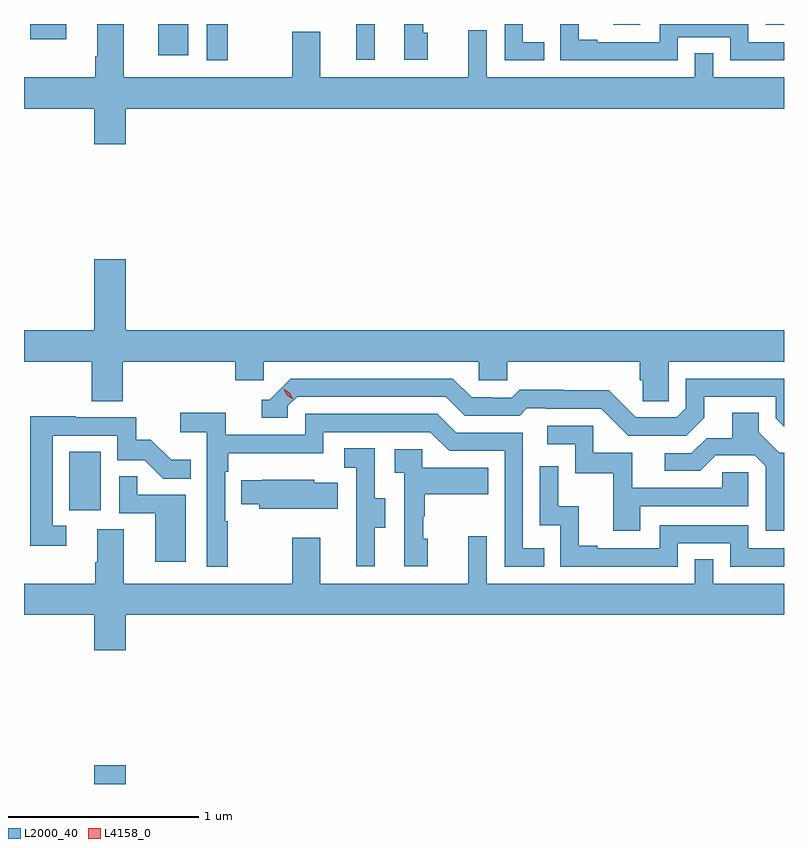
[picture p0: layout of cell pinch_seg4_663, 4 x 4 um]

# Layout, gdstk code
import gdstk
lib = gdstk.Library(unit=1e-6, precision=1e-09)
def R(c, l, rs):  # rectangles x0, y0, x1, y1
    for r in rs: c.add(gdstk.rectangle(r[:2], r[2:], *l))
def P(c, l, *ps):  # polygons
    for p in ps: c.add(gdstk.Polygon(p, *l))
L2000_40 = (2000, 40)
L4158_0 = (4158, 0)

pinch_seg4_663 = lib.new_cell('pinch_seg4_663')
R(pinch_seg4_663, L2000_40, [(1142.03,751.973,1142.194,752.071), (1141.898,753.414,1142.062,753.721), (1142.622,755.781,1142.731,755.973), (1143.407,755.784,1143.505,755.973), (1142.366,755.808,1142.524,755.973), (1141.693,755.892,1141.882,755.973), (1144.759,755.97,1144.903,755.973), (1145.562,755.97,1145.659,755.973)])
P(pinch_seg4_663, L2000_40, [(1144.397,755.877),(1144.284,755.877),(1144.284,755.973),(1144.188,755.973),(1144.188,755.781),(1144.397,755.781)],
  [(1142.194,755.528),(1145.659,755.528),(1145.659,755.692),(1145.286,755.692),(1145.286,755.819),(1145.19,755.819),(1145.19,755.692),(1144.095,755.692),(1144.095,755.941),(1143.998,755.941),(1143.998,755.692),(1143.217,755.692),(1143.217,755.932),(1143.07,755.932),(1143.07,755.692),(1142.185,755.692),(1142.185,755.973),(1142.045,755.973),(1142.045,755.804),(1142.033,755.804),(1142.033,755.692),(1141.659,755.692),(1141.659,755.528),(1142.03,755.528),(1142.03,755.34),(1142.194,755.34)],
  [(1143.784,755.928),(1143.759,755.928),(1143.759,755.973),(1143.66,755.973),(1143.66,755.784),(1143.784,755.784)],
  [(1145.1,755.904),(1145.376,755.904),(1145.376,755.781),(1145.659,755.781),(1145.659,755.877),(1145.472,755.877),(1145.472,755.973),(1145.004,755.973),(1145.004,755.877),(1144.675,755.877),(1144.675,755.89),(1144.58,755.89),(1144.58,755.973),(1144.482,755.973),(1144.482,755.781),(1145.1,755.781)],
  [(1142.18,754.196),(1142.771,754.196),(1142.771,754.098),(1142.922,754.098),(1142.922,754.196),(1144.053,754.196),(1144.053,754.098),(1144.203,754.098),(1144.203,754.196),(1144.901,754.196),(1144.901,754.098),(1144.915,754.098),(1144.915,753.988),(1145.052,753.988),(1145.052,754.196),(1145.659,754.196),(1145.659,754.36),(1142.194,754.36),(1142.194,754.735),(1142.03,754.735),(1142.03,754.36),(1141.659,754.36),(1141.659,754.196),(1142.015,754.196),(1142.015,753.988),(1142.18,753.988)],
  [(1145.239,753.901),(1145.239,754.011),(1145.616,754.011),(1145.616,753.897),(1145.659,753.854),(1145.659,754.107),(1145.142,754.107),(1145.142,753.951),(1145.094,753.903),(1144.878,753.903),(1144.736,754.045),(1144.5,754.045),(1144.5,754.048),(1144.267,754.048),(1144.225,754.005),(1144.122,754.005),(1144.122,754.008),(1144.015,754.008),(1143.916,754.107),(1143.063,754.107),(1142.952,753.996),(1142.909,753.996),(1142.909,753.9),(1143.048,753.9),(1143.048,753.963),(1143.096,754.011),(1143.879,754.011),(1143.978,753.912),(1144.267,753.912),(1144.306,753.951),(1144.405,753.951),(1144.405,753.948),(1144.698,753.948),(1144.839,753.807),(1145.145,753.807)],
  [(1145.659,753.717),(1145.634,753.717),(1145.527,753.824),(1145.527,753.926),(1145.387,753.926),(1145.387,753.794),(1145.252,753.794),(1145.172,753.714),(1145.031,753.714),(1145.031,753.621),(1145.218,753.621),(1145.299,753.702),(1145.505,753.702),(1145.562,753.645),(1145.562,753.306),(1145.659,753.306)],
  [(1142.731,753.356),(1142.718,753.356),(1142.718,753.617),(1142.735,753.617),(1142.735,753.713),(1143.234,753.713),(1143.234,753.825),(1143.798,753.825),(1143.897,753.726),(1144.188,753.726),(1144.188,753.117),(1144.397,753.117),(1144.397,753.213),(1144.284,753.213),(1144.284,753.822),(1143.934,753.822),(1143.835,753.921),(1143.138,753.921),(1143.138,753.81),(1142.72,753.81),(1142.72,753.926),(1142.481,753.926),(1142.481,753.824),(1142.622,753.824),(1142.622,753.117),(1142.731,753.117)],
  [(1141.882,753.333),(1141.809,753.333),(1141.809,753.807),(1142.151,753.807),(1142.151,753.678),(1142.295,753.678),(1142.393,753.58),(1142.537,753.58),(1142.537,753.679),(1142.433,753.679),(1142.326,753.786),(1142.25,753.786),(1142.25,753.903),(1141.931,753.903),(1141.931,753.908),(1141.693,753.908),(1141.693,753.228),(1141.882,753.228)],
  [(1144.903,753.435),(1145.472,753.435),(1145.472,753.615),(1145.335,753.615),(1145.335,753.531),(1144.861,753.531),(1144.861,753.717),(1144.656,753.717),(1144.656,753.858),(1144.413,753.858),(1144.413,753.762),(1144.56,753.762),(1144.56,753.609),(1144.759,753.609),(1144.759,753.306),(1144.903,753.306)],
  [(1143.505,753.322),(1143.559,753.322),(1143.559,753.477),(1143.504,753.477),(1143.504,753.74),(1143.345,753.74),(1143.345,753.637),(1143.408,753.637),(1143.408,753.333),(1143.407,753.333),(1143.407,753.12),(1143.505,753.12)],
  [(1143.784,753.264),(1143.759,753.264),(1143.759,753.383),(1143.769,753.383),(1143.769,753.497),(1144.103,753.497),(1144.103,753.637),(1143.756,753.637),(1143.756,753.735),(1143.609,753.735),(1143.609,753.611),(1143.66,753.611),(1143.66,753.12),(1143.784,753.12)],
  [(1145.1,753.24),(1145.376,753.24),(1145.376,753.117),(1145.659,753.117),(1145.659,753.213),(1145.472,753.213),(1145.472,753.336),(1145.004,753.336),(1145.004,753.213),(1144.675,753.213),(1144.675,753.226),(1144.58,753.226),(1144.58,753.434),(1144.47,753.434),(1144.47,753.646),(1144.374,753.646),(1144.374,753.336),(1144.482,753.336),(1144.482,753.117),(1145.1,753.117)],
  [(1142.509,753.495),(1142.255,753.495),(1142.255,753.593),(1142.16,753.593),(1142.16,753.399),(1142.351,753.399),(1142.351,753.144),(1142.509,753.144)],
  [(1143.311,753.559),(1143.186,753.559),(1143.186,753.574),(1142.914,753.574),(1142.914,753.573),(1142.803,753.573),(1142.803,753.445),(1142.897,753.445),(1142.897,753.422),(1143.311,753.422)],
  [(1142.194,752.864),(1145.659,752.864),(1145.659,753.028),(1145.286,753.028),(1145.286,753.155),(1145.19,753.155),(1145.19,753.028),(1144.095,753.028),(1144.095,753.277),(1143.998,753.277),(1143.998,753.028),(1143.217,753.028),(1143.217,753.268),(1143.07,753.268),(1143.07,753.028),(1142.185,753.028),(1142.185,753.314),(1142.045,753.314),(1142.045,753.14),(1142.033,753.14),(1142.033,753.028),(1141.659,753.028),(1141.659,752.864),(1142.03,752.864),(1142.03,752.676),(1142.194,752.676)])
P(pinch_seg4_663, L4158_0, [(1143.074,753.998),(1143.043,754.018),(1143.027,754.051),(1143.027,754.051),(1143.028,754.051),(1143.058,754.032),(1143.074,753.999),(1143.074,753.998)])

lib.write_gds('pinch_seg4_663.gds')
